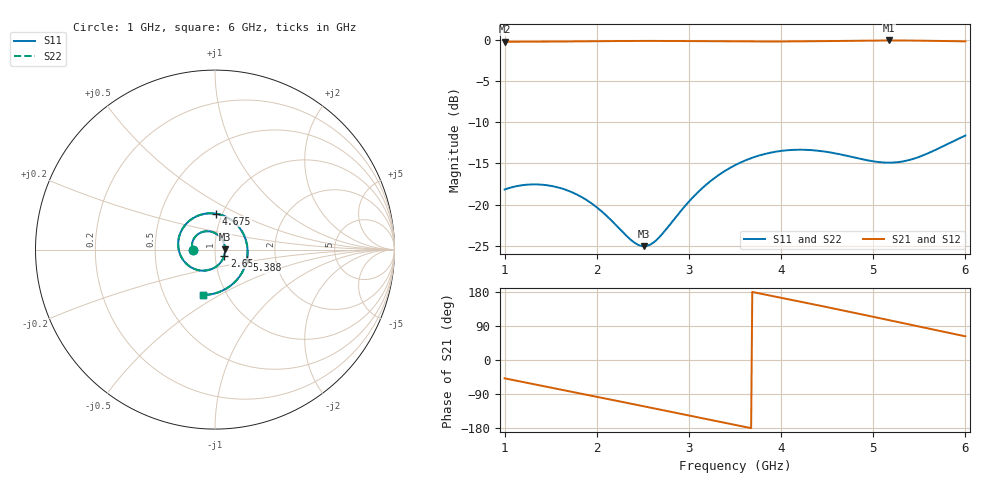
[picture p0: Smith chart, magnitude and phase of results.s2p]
! rfsim (KiCad + openEMS)
# HZ S RI R 50
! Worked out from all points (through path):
!   401 points, 1 GHz to 6 GHz, reference 50 ohm
!   highest |S21| = -0.11 dB at 5.175 GHz (marker M1); lowest = -0.3 dB at 1 GHz (marker M2)
!   group delay of S21, straight-line fit = 138 ps
!   lowest |S11| = -25.0 dB at 2.513 GHz (marker M3), VSWR 1.12, Z = 55.9 + j0.165 ohm
!   |S11| at or under -10 dB: start of sweep to end of sweep
!   |S22| runs from -25.0 to -11.6 dB; largest |S21 - S12| = 0.00016
!   S11 on the Smith chart (normalised r, x): 1 GHz: 0.78, -0.00; 2.65 GHz: 1.11, -0.07; 4.675 GHz: 0.93, +0.39; 5.388 GHz: 1.42, -0.17; 6 GHz: 0.77, -0.42
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1e9  -0.1237 -0.000792  0.6437 -0.7247  0.6437 -0.7246  -0.1238 -0.000794
1.4375e9  -0.1122 0.0691  0.3398 -0.909  0.3398 -0.909  -0.1122 0.0691
1.8375e9  -0.0437 0.1023  0.0176 -0.9752  0.0176 -0.9752  -0.0437 0.1023
2.175e9  0.0241 0.075  -0.2624 -0.943  -0.2625 -0.943  0.0241 0.075
2.3875e9  0.0509 0.0322  -0.4314 -0.8807  -0.4313 -0.8807  0.0509 0.0322
2.5125e9  0.0561 0.00147  -0.5246 -0.829  -0.5246 -0.8291  0.0561 0.00148
2.65e9  0.0513 -0.0336  -0.6197 -0.7604  -0.6197 -0.7604  0.0513 -0.0336
2.675e9  0.0492 -0.0398  -0.636 -0.7466  -0.636 -0.7467  0.0492 -0.0398
3.1e9  -0.036 -0.1139  -0.8596 -0.4658  -0.8595 -0.4658  -0.036 -0.1139
3.3e9  -0.0948 -0.114  -0.9246 -0.3106  -0.9247 -0.3107  -0.0948 -0.114
3.5e9  -0.1501 -0.087  -0.9621 -0.148  -0.9622 -0.148  -0.1501 -0.087
3.7125e9  -0.192 -0.0324  -0.972 0.0282  -0.972 0.0282  -0.192 -0.0324
3.925e9  -0.205 0.0393  -0.9512 0.2035  -0.9512 0.2034  -0.205 0.0393
4.125e9  -0.185 0.1093  -0.9038 0.3634  -0.9039 0.3635  -0.185 0.1093
4.3375e9  -0.1299 0.1701  -0.8247 0.5239  -0.8247 0.5239  -0.1299 0.1701
4.675e9  0.00633 0.2  -0.6396 0.7462  -0.6396 0.7462  0.00633 0.2
4.9125e9  0.1042 0.1553  -0.47 0.8666  -0.47 0.8666  0.1042 0.1553
5.175e9  0.1729 0.0495  -0.2545 0.9539  -0.2545 0.9539  0.1729 0.0495
5.3875e9  0.1769 -0.0586  -0.0674 0.9837  -0.0674 0.9838  0.1769 -0.0586
5.55e9  0.1445 -0.1383  0.0769 0.9807  0.0769 0.9807  0.1445 -0.1384
5.725e9  0.0784 -0.2072  0.2285 0.9535  0.2286 0.9534  0.0784 -0.2071
6e9  -0.0693 -0.253  0.4509 0.8643  0.4508 0.8644  -0.0693 -0.253
